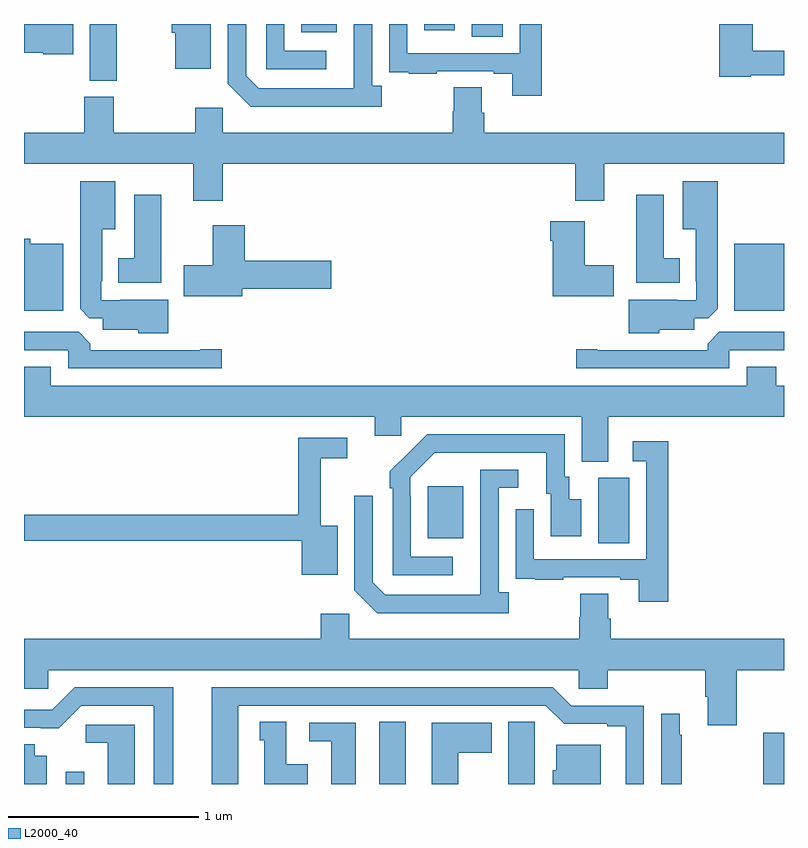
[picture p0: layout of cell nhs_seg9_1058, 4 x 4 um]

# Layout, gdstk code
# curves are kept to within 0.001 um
import gdstk
lib = gdstk.Library(unit=1e-6, precision=1e-09)
def R(c, l, rs):  # rectangles x0, y0, x1, y1
    for r in rs: c.add(gdstk.rectangle(r[:2], r[2:], *l))
def P(c, l, *ps):  # polygons
    for p in ps: c.add(gdstk.Polygon(p, *l))
L2000_40 = (2000, 40)

nhs_seg9_1058 = lib.new_cell('nhs_seg9_1058')
R(nhs_seg9_1058, L2000_40, [(169.221,1182.5,169.317,1182.565), (170.87,1182.5,171.01,1182.827), (172.891,1182.5,173,1182.769), (172.022,1183.768,172.186,1184.112), (171.125,1183.793,171.313,1184.068), (172.739,1184.99,173,1185.343), (169.346,1186.201,169.488,1186.5), (171.356,1186.432,171.52,1186.5), (170.459,1186.457,170.647,1186.5), (171.107,1186.467,171.268,1186.5)])
P(nhs_seg9_1058, L2000_40, [(169.258,1186.5),(169,1186.5),(169,1186.349),(169.101,1186.349),(169.101,1186.34),(169.258,1186.34)],
  [(170.884,1186.174),(170.832,1186.174),(170.832,1186.5),(170.736,1186.5),(170.735,1186.161),(170.235,1186.161),(170.169,1186.227),(170.169,1186.5),(170.073,1186.5),(170.073,1186.185),(170.194,1186.064),(170.884,1186.064)],
  [(171.725,1186.5),(171.609,1186.5),(171.609,1186.347),(171.018,1186.347),(171.018,1186.5),(170.922,1186.5),(170.922,1186.354),(170.923,1186.354),(170.923,1186.245),(171.025,1186.245),(171.025,1186.239),(171.173,1186.239),(171.173,1186.251),(171.473,1186.251),(171.473,1186.239),(171.569,1186.239),(171.569,1186.122),(171.725,1186.122)],
  [(172.824,1186.23),(173,1186.23),(173,1186.358),(172.836,1186.358),(172.836,1186.5),(172.658,1186.5),(172.658,1186.222),(172.824,1186.222)],
  [(170.59,1186.359),(170.37,1186.359),(170.37,1186.5),(170.274,1186.5),(170.274,1186.263),(170.59,1186.263)],
  [(169.984,1186.5),(169.777,1186.5),(169.777,1186.455),(169.796,1186.455),(169.796,1186.265),(169.984,1186.265)],
  [(170.045,1185.764),(171.902,1185.764),(171.902,1185.57),(172.054,1185.57),(172.054,1185.764),(173,1185.764),(173,1185.928),(171.422,1185.928),(171.422,1186.034),(171.409,1186.034),(171.409,1186.166),(171.262,1186.166),(171.262,1186.041),(171.257,1186.041),(171.257,1185.928),(170.046,1185.928),(170.046,1186.06),(169.9,1186.06),(169.9,1185.928),(169.473,1185.928),(169.473,1186.116),(169.318,1186.116),(169.318,1185.928),(169,1185.928),(169,1185.764),(169.892,1185.764),(169.892,1185.57),(170.045,1185.57)],
  [(172.344,1184.891),(172.528,1184.891),(172.528,1184.952),(172.602,1184.952),(172.651,1185.001),(172.651,1185.673),(172.466,1185.673),(172.466,1185.419),(172.535,1185.419),(172.535,1185.145),(172.539,1185.145),(172.539,1185.045),(172.439,1185.045),(172.439,1185.049),(172.184,1185.049),(172.184,1184.873),(172.344,1184.873)],
  [(169.759,1185.049),(169.507,1185.049),(169.507,1185.045),(169.407,1185.045),(169.407,1185.145),(169.411,1185.145),(169.411,1185.419),(169.48,1185.419),(169.48,1185.673),(169.295,1185.673),(169.295,1185.001),(169.344,1184.952),(169.415,1184.952),(169.415,1184.891),(169.602,1184.891),(169.602,1184.873),(169.759,1184.873)],
  [(169.723,1185.601),(169.58,1185.601),(169.58,1185.268),(169.496,1185.268),(169.496,1185.137),(169.723,1185.137)],
  [(172.45,1185.268),(172.366,1185.268),(172.366,1185.601),(172.223,1185.601),(172.223,1185.137),(172.45,1185.137)],
  [(172.105,1185.231),(171.952,1185.231),(171.952,1185.463),(171.77,1185.463),(171.77,1185.359),(171.782,1185.359),(171.782,1185.068),(172.105,1185.068)],
  [(170.149,1185.107),(170.617,1185.107),(170.617,1185.254),(170.162,1185.254),(170.162,1185.442),(169.994,1185.442),(169.994,1185.231),(169.842,1185.231),(169.842,1185.068),(170.149,1185.068)],
  [(169.207,1185.343),(169.032,1185.343),(169.032,1185.37),(169,1185.37),(169,1184.99),(169.207,1184.99)],
  [(170.041,1184.789),(169.928,1184.789),(169.928,1184.784),(169.349,1184.784),(169.349,1184.818),(169.287,1184.88),(169,1184.88),(169,1184.784),(169.233,1184.784),(169.233,1184.688),(170.041,1184.688)],
  [(172.713,1184.784),(173,1184.784),(173,1184.88),(172.659,1184.88),(172.598,1184.818),(172.598,1184.784),(172.018,1184.784),(172.018,1184.789),(171.906,1184.789),(171.906,1184.688),(172.713,1184.688)],
  [(172.075,1184.432),(173,1184.432),(173,1184.596),(172.958,1184.596),(172.958,1184.695),(172.805,1184.695),(172.805,1184.596),(169.141,1184.596),(169.141,1184.695),(169,1184.695),(169,1184.432),(170.846,1184.432),(170.846,1184.334),(170.985,1184.334),(170.985,1184.432),(171.935,1184.432),(171.935,1184.197),(172.075,1184.197)],
  [(171.256,1183.695),(171.036,1183.695),(171.036,1184.015),(171.033,1184.015),(171.033,1184.115),(171.162,1184.244),(171.749,1184.244),(171.749,1184.028),(171.773,1184.028),(171.773,1183.803),(171.934,1183.803),(171.934,1183.999),(171.871,1183.999),(171.871,1184.118),(171.846,1184.118),(171.846,1184.34),(171.122,1184.34),(170.925,1184.145),(170.925,1184.057),(170.94,1184.057),(170.94,1183.599),(171.256,1183.599)],
  [(170.65,1183.858),(170.561,1183.858),(170.561,1184.214),(170.701,1184.214),(170.701,1184.322),(170.443,1184.322),(170.443,1183.916),(169,1183.916),(169,1183.78),(170.463,1183.78),(170.463,1183.601),(170.65,1183.601)],
  [(172.391,1184.305),(172.203,1184.305),(172.203,1184.199),(172.275,1184.199),(172.275,1183.683),(171.684,1183.683),(171.684,1183.945),(171.588,1183.945),(171.588,1183.69),(171.589,1183.69),(171.589,1183.581),(171.691,1183.581),(171.691,1183.575),(171.839,1183.575),(171.839,1183.587),(172.139,1183.587),(172.139,1183.575),(172.235,1183.575),(172.235,1183.458),(172.391,1183.458)],
  [(171.55,1183.51),(171.498,1183.51),(171.498,1184.058),(171.601,1184.058),(171.601,1184.154),(171.402,1184.154),(171.401,1183.497),(170.901,1183.497),(170.835,1183.563),(170.835,1184.017),(170.739,1184.017),(170.739,1183.521),(170.86,1183.4),(171.55,1183.4)],
  [(172.751,1183.1),(173,1183.1),(173,1183.264),(172.088,1183.264),(172.088,1183.37),(172.075,1183.37),(172.075,1183.502),(171.928,1183.502),(171.928,1183.377),(171.923,1183.377),(171.923,1183.264),(170.712,1183.264),(170.712,1183.396),(170.561,1183.396),(170.561,1183.264),(169,1183.264),(169,1183.002),(169.128,1183.002),(169.128,1183.1),(171.921,1183.1),(171.921,1183.002),(172.073,1183.002),(172.073,1183.1),(172.586,1183.1),(172.586,1182.958),(172.598,1182.958),(172.598,1182.81),(172.751,1182.81)],
  [(170.128,1182.912),(171.747,1182.912),(171.843,1182.816),(172.07,1182.816),(172.07,1182.804),(172.166,1182.804),(172.166,1182.5),(172.263,1182.5),(172.263,1182.912),(171.879,1182.912),(171.783,1183.008),(169.988,1183.008),(169.988,1182.5),(170.128,1182.5)],
  [(169.786,1183.008),(169.266,1183.008),(169.149,1182.891),(169,1182.891),(169,1182.795),(169.088,1182.795),(169.088,1182.794),(169.184,1182.794),(169.302,1182.912),(169.682,1182.912),(169.682,1182.5),(169.786,1182.5)],
  [(172.462,1182.758),(172.45,1182.758),(172.45,1182.871),(172.353,1182.871),(172.353,1182.5),(172.462,1182.5)],
  [(170.494,1182.604),(170.38,1182.604),(170.38,1182.827),(170.24,1182.827),(170.24,1182.729),(170.264,1182.729),(170.264,1182.5),(170.494,1182.5)],
  [(171.688,1182.716),(171.687,1182.716),(171.687,1182.827),(171.548,1182.827),(171.548,1182.5),(171.688,1182.5)],
  [(171.286,1182.664),(171.463,1182.664),(171.463,1182.823),(171.146,1182.823),(171.146,1182.5),(171.286,1182.5)],
  [(170.746,1182.822),(170.502,1182.822),(170.502,1182.726),(170.618,1182.726),(170.618,1182.5),(170.746,1182.5)],
  [(169.582,1182.813),(169.326,1182.813),(169.326,1182.716),(169.442,1182.716),(169.442,1182.5),(169.582,1182.5)],
  [(169.12,1182.649),(169.057,1182.649),(169.057,1182.71),(169,1182.71),(169,1182.5),(169.12,1182.5)],
  [(172.036,1182.706),(171.8,1182.706),(171.8,1182.573),(171.782,1182.573),(171.782,1182.5),(172.036,1182.5)])

lib.write_gds('nhs_seg9_1058.gds')
